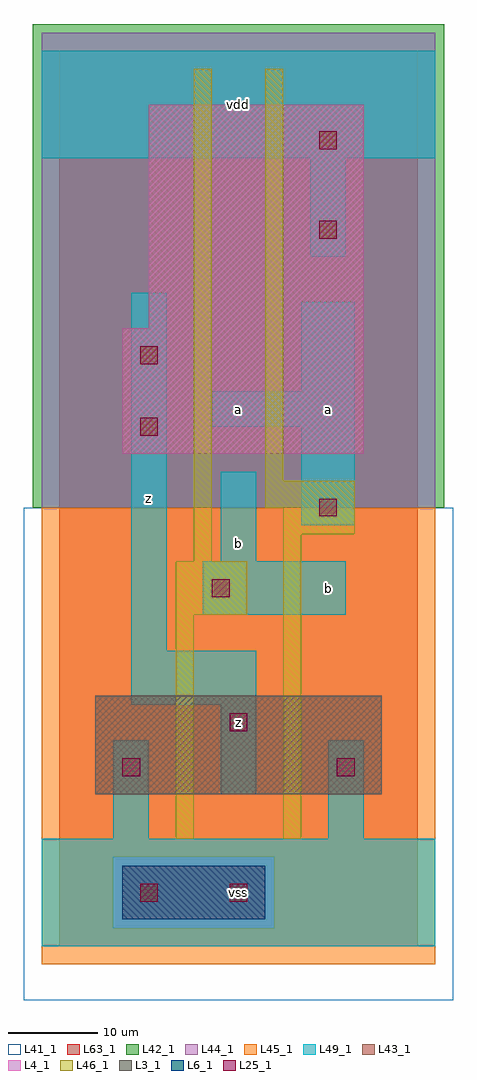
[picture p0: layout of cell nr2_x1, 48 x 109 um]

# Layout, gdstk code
import gdstk
lib = gdstk.Library(unit=1e-6, precision=1e-09)
def R(c, l, rs):  # rectangles x0, y0, x1, y1
    for r in rs: c.add(gdstk.rectangle(r[:2], r[2:], *l))
L3_1 = (3, 1)
L4_1 = (4, 1)
L6_1 = (6, 1)
L25_1 = (25, 1)
L41_1 = (41, 1)
L42_1 = (42, 1)
L43_1 = (43, 1)
L44_1 = (44, 1)
L45_1 = (45, 1)
L46_1 = (46, 1)
L49_1 = (49, 1)
L63_1 = (63, 1)

nr2_x1 = lib.new_cell('nr2_x1')
R(nr2_x1, L3_1, [(4,17,36,28)])
R(nr2_x1, L4_1, [(7,55,34,69), (10,69,34,94)])
R(nr2_x1, L6_1, [(7,3,23,9)])
R(nr2_x1, L25_1, [(9,5,11,7), (19,5,21,7), (7,19,9,21), (31,19,33,21), (19,24,21,26), (17,39,19,41), (29,48,31,50), (9,57,11,59), (9,65,11,67), (29,79,31,81), (29,89,31,91)])
R(nr2_x1, L41_1, [(-4,-6,44,49), (-3,-3,43,49)])
R(nr2_x1, L42_1, [(-3,49,43,103)])
R(nr2_x1, L43_1, [(7,3,23,9), (4,17,36,28), (7,55,34,69), (10,69,34,94)])
R(nr2_x1, L44_1, [(6,2,24,10), (-2,49,42,102)])
R(nr2_x1, L45_1, [(-2,-2,42,2), (-2,2,6,10), (24,2,42,10), (-2,10,42,49)])
R(nr2_x1, L46_1, [(13,12,15,37), (25,12,27,46), (13,37,21,43), (15,43,17,98), (25,46,33,49), (23,49,33,52), (23,52,25,98)])
R(nr2_x1, L49_1, [(-2,0,42,12), (6,12,10,23), (30,12,34,23), (18,17,22,27), (8,27,22,33), (8,33,12,73), (16,37,32,43), (18,43,22,53), (27,47,33,58), (17,58,33,62), (27,62,33,72), (28,77,32,88), (-2,88,42,100)])
R(nr2_x1, L63_1, [(0,0,40,100)])
nr2_x1.add(gdstk.Label('z', (10,50), layer=49, texttype=1))
nr2_x1.add(gdstk.Label('z', (10,50), layer=49, texttype=1))
nr2_x1.add(gdstk.Label('vss', (20,6), layer=49, texttype=1))
nr2_x1.add(gdstk.Label('vss', (20,6), layer=49, texttype=1))
nr2_x1.add(gdstk.Label('z', (20,25), layer=49, texttype=1))
nr2_x1.add(gdstk.Label('z', (20,25), layer=49, texttype=1))
nr2_x1.add(gdstk.Label('b', (20,45), layer=49, texttype=1))
nr2_x1.add(gdstk.Label('b', (20,45), layer=49, texttype=1))
nr2_x1.add(gdstk.Label('a', (20,60), layer=49, texttype=1))
nr2_x1.add(gdstk.Label('a', (20,60), layer=49, texttype=1))
nr2_x1.add(gdstk.Label('vdd', (20,94), layer=49, texttype=1))
nr2_x1.add(gdstk.Label('vdd', (20,94), layer=49, texttype=1))
nr2_x1.add(gdstk.Label('b', (30,40), layer=49, texttype=1))
nr2_x1.add(gdstk.Label('b', (30,40), layer=49, texttype=1))
nr2_x1.add(gdstk.Label('a', (30,60), layer=49, texttype=1))
nr2_x1.add(gdstk.Label('a', (30,60), layer=49, texttype=1))

lib.write_gds('nr2_x1.gds')
